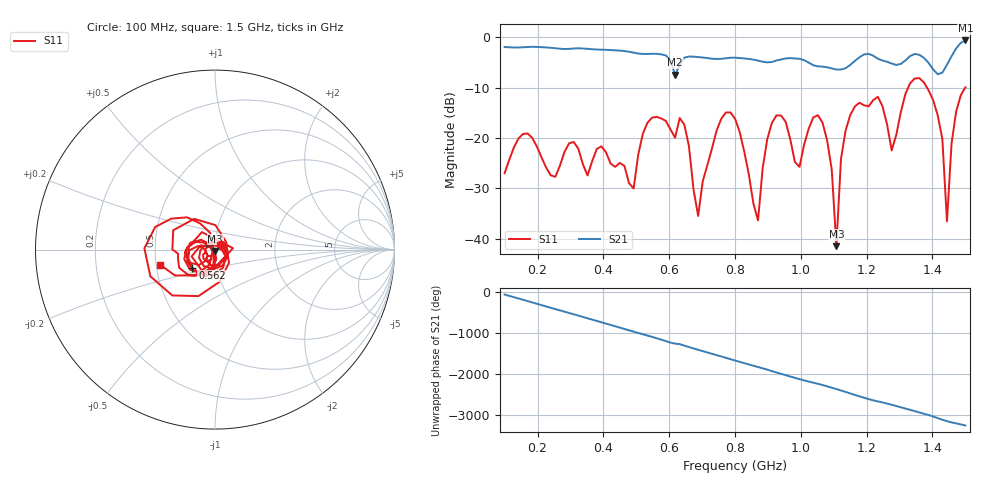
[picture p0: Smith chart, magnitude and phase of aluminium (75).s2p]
! NanoVNA-App
! Date: 2025-09-25 14:55:51
! Start: 100MHz Stop: 1,5GHz Points: 101
! S-Parameter data: F S11 S21 S12 S22
# Hz S RI R 50
!  Frequency  S11_Real  S11_Imag  S21_Real  S21_Imag  S12_Real  S12_Imag  S22_Real  S22_Imag
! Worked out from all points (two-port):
!   101 points, 100 MHz to 1.5 GHz, reference 50 ohm
!   highest |S21| = -0.63 dB at 1.5 GHz (marker M1); lowest = -7.4 dB at 618 MHz (marker M2)
!   |S21| within 3 dB of the highest: start of sweep to 590.4 MHz; 1.459 GHz to end of sweep (the widest 2 of 4)
!   lowest |S11| = -41.5 dB at 1.108 GHz (marker M3), VSWR 1.02, Z = 50.2 - j0.829 ohm
!   |S11| at or under -10 dB: start of sweep to 1.326 GHz; 1.383 GHz to 1.499 GHz (116 MHz wide, 8.05 % of centre)
!   S12 and S22 are empty: the file has one direction only
!   S11 on the Smith chart (normalised r, x): 100 MHz: 1.07, +0.06; 562 MHz: 0.76, -0.16; 1.5 GHz: 0.52, -0.10
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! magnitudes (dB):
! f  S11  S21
! 100 MHz  -27.0  -1.9
! 338 MHz  -25.2  -2.2
! 492 MHz  -30.0  -3.0
! 562 MHz  -15.8  -3.3
! 576 MHz  -16.1  -3.4
! 618 MHz  -19.9  -7.4
! 688 MHz  -35.5  -3.9
! 800 MHz  -16.2  -4.0
! 870 MHz  -36.4  -4.6
! 912 MHz  -17.0  -4.9
! 996 MHz  -25.7  -4.3
! 1.038 GHz  -15.9  -5.6
! 1.08 GHz  -20.5  -5.9
! 1.108 GHz  -41.5  -6.4
! 1.122 GHz  -24.2  -6.4
! 1.164 GHz  -13.8  -4.7
! 1.276 GHz  -22.5  -5.2
! 1.374 GHz  -9.0  -4.1
! 1.43 GHz  -20.2  -7.0
! 1.444 GHz  -36.6  -5.5
! 1.458 GHz  -21.1  -3.8
! 1.5 GHz  -9.9  -0.6
